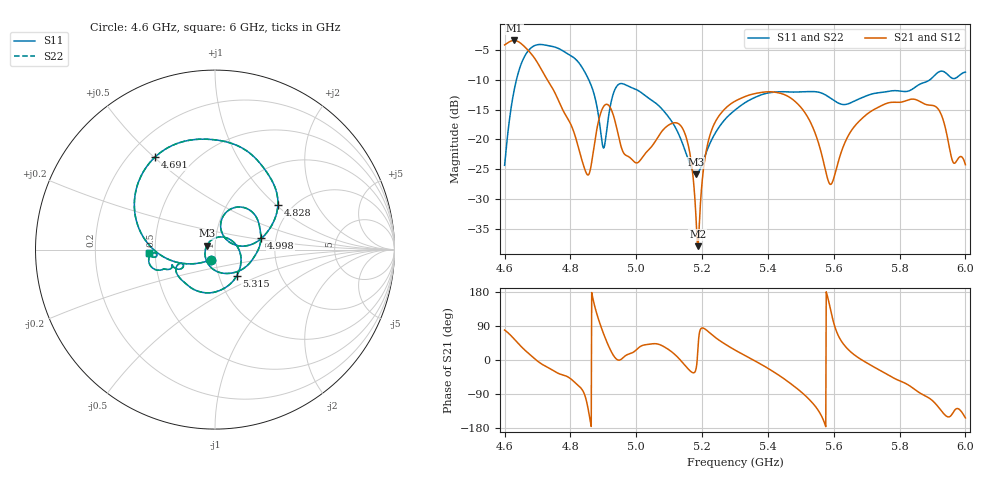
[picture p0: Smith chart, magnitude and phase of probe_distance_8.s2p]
! TOUCHSTONE file generated by CST MICROWAVE STUDIO
! Date and time: Sat Nov 30 13:10:58 2024
! Project name: test_tuning.cst
! Parameters = {airCoaxOuterDiameter=3; chamferAngle=45; chamferWidth=24; connectorLength=10; drillingHoleDiameter=4.1; feedLength=60; flareDiameter=130; flareLength=70; gratingDistance=0; gratingGap=1.90274; outletLength=30; polarizerLength=134; probe1Diameter=1.3; probe1Distance=11.5; probe1Length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
! Header version: 2024
! Port assignment regex: !\s*Touchstone port\s*([0-9]+)\s*=\s*(CST MWS port|CST DES external port|CST DES block port)\s*(.+)\s* \(\"(.*)\"\)(\s*mode\s*([0-9]+))?.*
! Touchstone port assignment:
! Touchstone port 1 = CST MWS port 1 ("Input1")
! Touchstone port 2 = CST MWS port 2 ("Input2")
# GHz S MA R 50
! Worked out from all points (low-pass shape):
!   1001 points, 4.6 GHz to 6 GHz, reference 50 ohm
!   highest |S21| = -3.37 dB at 4.629 GHz (marker M1); lowest = -38.0 dB at 5.187 GHz (marker M2)
!   |S21| within 3 dB of the highest: start of sweep to 4.691 GHz
!   lowest |S11| = -25.9 dB at 5.181 GHz (marker M3), VSWR 1.11, Z = 45.6 + j2.02 ohm
!   |S11| at or under -10 dB: start of sweep to 4.636 GHz; 4.856 GHz to 5.892 GHz (1.036 GHz wide, 19.3 % of centre)
!   |S22| runs from -25.9 to -4.0 dB; largest |S21 - S12| = 1.1e-06
!   S11 on the Smith chart (normalised r, x): 4.6 GHz: 0.95, -0.11; 4.691 GHz: 0.30, +0.50; 4.828 GHz: 1.68, +1.04; 4.998 GHz: 1.67, +0.24; 5.315 GHz: 1.21, -0.37; 6 GHz: 0.46, -0.02
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4.6  0.06053 -110.5  0.6224 79.2  0.6224 79.2  0.06053 -110.5
4.6294  0.2625 -167.8  0.6787 55.1  0.6787 55.1  0.2625 -167.8
4.691  0.614 123.1  0.4816 3.6  0.4816 3.6  0.614 123.1
4.8282  0.431 35.6  0.07777 -70.7  0.07777 -70.7  0.431 35.6
4.8338  0.4092 32.1  0.06841 -76.1  0.06841 -76.1  0.4092 32.1
4.8576  0.3087 18.7  0.05201 -147.7  0.05201 -147.7  0.3087 18.7
4.901  0.08457 44.2  0.1895 68.5  0.1895 68.5  0.08457 44.2
4.9388  0.2744 59.9  0.1308 3.2  0.1308 3.2  0.2744 59.9
4.9976  0.2642 14.6  0.06371 24.9  0.06371 24.9  0.2642 14.6
5.0676  0.1927 -32.1  0.1064 41.6  0.1064 41.6  0.1927 -32.1
5.1432  0.08827 -116.1  0.1199 -9.3  0.1199 -9.3  0.08827 -116.1
5.181  0.05086 154.2  0.02339 -25.7  0.02339 -25.7  0.05086 154.2
5.1866  0.05178 135.8  0.01264 19.3  0.01264 19.3  0.05178 135.8
5.2244  0.09314 43.6  0.1096 70.9  0.1096 70.9  0.09314 43.6
5.3  0.1763 -39.5  0.2093 26.2  0.2093 26.2  0.1763 -39.5
5.3154  0.1903 -50.9  0.2198 18.9  0.2198 18.9  0.1903 -50.9
5.5338  0.2523 -144.4  0.131 -111.7  0.131 -111.7  0.2523 -144.4
5.5912  0.2211 -158.1  0.04186 129.5  0.04186 129.5  0.2211 -158.1
5.657  0.2064 -150.8  0.1223 17.4  0.1223 17.4  0.2064 -150.8
5.7676  0.2539 -158.0  0.2034 -40.3  0.2034 -40.3  0.2539 -158.0
5.9104  0.3536 -161.9  0.188 -116.4  0.188 -116.4  0.3536 -161.9
6  0.3677 -177.1  0.0612 -152.7  0.0612 -152.7  0.3677 -177.1
